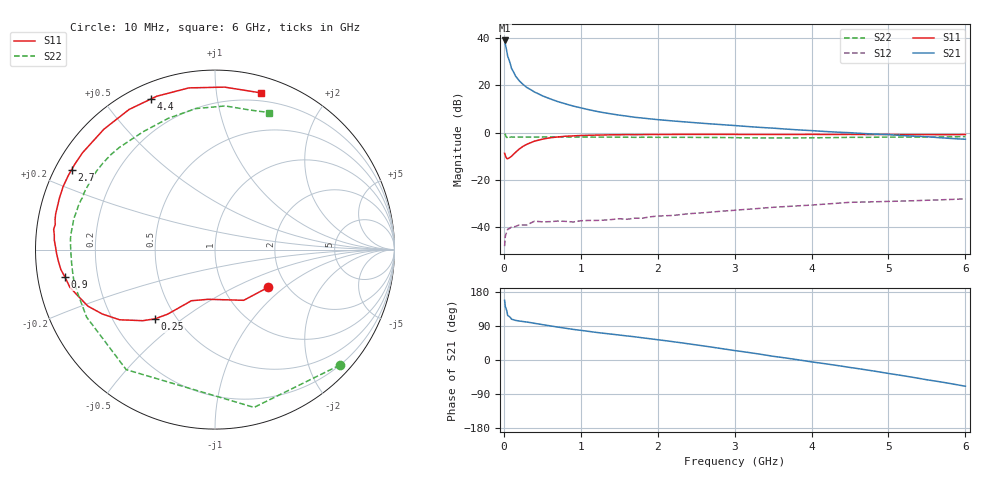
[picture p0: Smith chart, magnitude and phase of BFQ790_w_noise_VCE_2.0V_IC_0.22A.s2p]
! Infineon Technologies  Discrete & RF Semiconductors
! BFQ790
! VCE =  2.0 V,  IC = 0.22 A
! Common Emitter S-Parameters:  May 2015
# GHz  S  MA  R  50
!  f  S11  S21  S12  S22
! GHz  MAG  ANG  MAG  ANG  MAG  ANG  MAG  ANG
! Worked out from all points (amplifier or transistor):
!   77 points, 10 MHz to 6 GHz, reference 50 ohm
!   highest |S21| = 39.1 dB at 10 MHz (marker M1)
!   |S21| within 3 dB of that: start of sweep to 28.83 MHz
!   unconditionally stable (mu >= 1): 245.1 MHz to 358.9 MHz; 527.6 MHz to 773.8 MHz; 810 MHz to end of sweep
!   at 130 MHz: K = 0.71, MSG = 32.7 dB, |S12| = -39.9 dB
!   at 2.2 GHz: K = 1.28, MAG = 16.9 dB, |S12| = -35.1 dB
!   at 6 GHz: K = 1.10, MAG = 10.7 dB, |S12| = -28.1 dB
!   lowest NFmin = 3.50 dB at 1.5 GHz
!   S11 on the Smith chart (normalised r, x): 10 MHz: 1.61, -0.78; 250 MHz: 0.38, -0.40; 900 MHz: 0.08, -0.09; 2.7 GHz: 0.05, +0.26; 4.4 GHz: 0.07, +0.66; 6 GHz: 0.13, +1.32
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0.01  0.3637 -35.2  89.7 157.3  0.0039 67.1  0.9474 -42.8
0.02  0.3246 -60.5  73.92 140.2  0.0065 50.6  0.9057 -76.1
0.05  0.2795 -97.8  41.43 117.4  0.0089 29.3  0.8318 -126.5
0.1  0.3142 -114.9  22.83 107.6  0.0099 15.7  0.8082 -152.3
0.15  0.3781 -121.5  15.98 104.6  0.0102 18.8  0.803 -162.6
0.2  0.4467 -126.3  12.53 102.9  0.011 19.4  0.8049 -168.0
0.25  0.5114 -131.0  10.46 101.5  0.011 19.1  0.803 -171.7
0.3  0.5652 -135.5  9.01 100.1  0.011 12.9  0.8024 -174.5
0.4  0.6592 -143.6  7.217 96.7  0.0132 14.5  0.8031 -178.6
0.5  0.7236 -150.3  6.03 93.4  0.0128 12.1  0.805 178.4
0.6  0.7749 -156.0  5.199 90.2  0.0129 13.7  0.8075 175.8
0.7  0.805 -161.2  4.543 86.9  0.0133 14.3  0.8071 173.6
0.9  0.8494 -169.5  3.651 80.8  0.0127 11.5  0.8045 170.1
1.1  0.8757 -176.0  3.062 75.6  0.0137 12.4  0.8038 166.8
1.5  0.899 174.8  2.341 65.9  0.0149 14.0  0.7973 161.1
2.1  0.9109 163.6  1.819 51.0  0.0172 14.3  0.7924 152.1
2.7  0.9144 150.9  1.523 34.1  0.0206 10.4  0.7865 140.1
3.1  0.9113 141.6  1.369 22.2  0.0232 5.5  0.7751 130.9
4.1  0.9129 119.4  1.073 -7.7  0.0298 -9.6  0.7768 107.3
4.4  0.9119 112.9  1.009 -16.5  0.0323 -15.5  0.7869 100.1
5.1  0.908 96.7  0.882 -38.6  0.035 -29.9  0.8003 83.9
6  0.9096 73.8  0.722 -69.3  0.0394 -51.1  0.8204 68.6
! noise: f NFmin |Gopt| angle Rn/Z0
0.45  5.75  0.49  142  0.55
0.9  4.04  0.62  168  0.18
1.5  3.5  0.72  -172  0.1
1.8  3.53  0.73  -167  0.11
2.6  3.76  0.75  -151  0.29
3.5  4.27  0.85  -135  0.6
